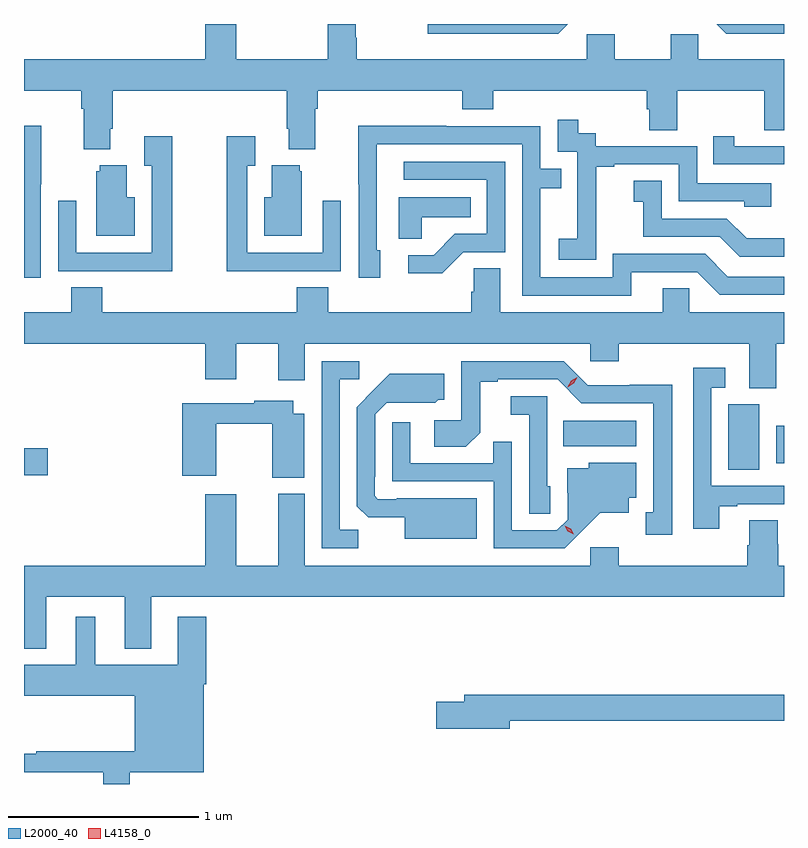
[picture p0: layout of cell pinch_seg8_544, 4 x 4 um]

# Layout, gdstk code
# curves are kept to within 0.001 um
import gdstk
lib = gdstk.Library(unit=1e-6, precision=1e-09)
def R(c, l, rs):  # rectangles x0, y0, x1, y1
    for r in rs: c.add(gdstk.rectangle(r[:2], r[2:], *l))
def P(c, l, *ps):  # polygons
    for p in ps: c.add(gdstk.Polygon(p, *l))
L2000_40 = (2000, 40)
L4158_0 = (4158, 0)

pinch_seg8_544 = lib.new_cell('pinch_seg8_544')
R(pinch_seg8_544, L2000_40, [(140.079,1106.482,140.203,1106.624), (143.786,1106.512,143.95,1106.856), (144.038,1106.547,144.079,1106.743), (142.918,1106.636,143.302,1106.77)])
P(pinch_seg8_544, L2000_40, [(140.533,1108.306),(140.546,1108.306),(140.546,1108.508),(141.461,1108.508),(141.461,1108.306),(141.473,1108.306),(141.473,1108.199),(141.613,1108.199),(141.613,1108.412),(141.626,1108.412),(141.626,1108.508),(142.385,1108.508),(142.385,1108.409),(142.55,1108.409),(142.55,1108.508),(143.357,1108.508),(143.357,1108.41),(143.369,1108.41),(143.369,1108.3),(143.517,1108.3),(143.517,1108.508),(143.974,1108.508),(143.974,1108.3),(144.079,1108.3),(144.079,1108.672),(143.628,1108.672),(143.628,1108.804),(143.482,1108.804),(143.482,1108.672),(143.187,1108.672),(143.187,1108.804),(143.04,1108.804),(143.04,1108.672),(141.83,1108.672),(141.83,1108.785),(141.825,1108.785),(141.825,1108.858),(141.677,1108.858),(141.677,1108.672),(141.196,1108.672),(141.196,1108.858),(141.032,1108.858),(141.032,1108.672),(140.079,1108.672),(140.079,1108.508),(140.381,1108.508),(140.381,1108.412),(140.393,1108.412),(140.393,1108.199),(140.533,1108.199)],
  [(144.079,1108.858),(143.726,1108.858),(143.776,1108.808),(144.079,1108.808)],
  [(142.942,1108.858),(142.203,1108.858),(142.203,1108.808),(142.892,1108.808)],
  [(143.091,1107.823),(143.09,1107.823),(143.09,1108.107),(143.185,1108.107),(143.185,1108.119),(143.526,1108.119),(143.526,1107.924),(143.871,1107.924),(143.871,1107.897),(144.011,1107.897),(144.011,1108.02),(143.622,1108.02),(143.622,1108.215),(143.088,1108.215),(143.088,1108.284),(142.996,1108.284),(142.996,1108.354),(142.887,1108.354),(142.887,1108.185),(142.992,1108.185),(142.992,1107.956),(142.991,1107.956),(142.991,1107.727),(142.893,1107.727),(142.893,1107.617),(143.091,1107.617)],
  [(140.166,1108.015),(140.169,1108.015),(140.169,1108.322),(140.079,1108.322),(140.079,1107.522),(140.166,1107.522)],
  [(143.275,1107.552),(143.622,1107.552),(143.742,1107.432),(144.079,1107.432),(144.079,1107.528),(143.784,1107.528),(143.664,1107.648),(143.178,1107.648),(143.178,1107.525),(142.797,1107.525),(142.797,1107.994),(142.907,1107.994),(142.907,1108.095),(142.797,1108.095),(142.797,1108.32),(142.301,1108.32),(142.301,1108.322),(141.838,1108.322),(141.838,1108.015),(141.84,1108.015),(141.84,1107.522),(141.955,1107.522),(141.955,1107.666),(141.936,1107.666),(141.936,1108.224),(142.701,1108.224),(142.701,1107.429),(143.275,1107.429)],
  [(140.86,1108.267),(140.711,1108.267),(140.711,1108.111),(140.751,1108.111),(140.751,1107.654),(140.355,1107.654),(140.355,1107.928),(140.259,1107.928),(140.259,1107.558),(140.575,1107.558),(140.575,1107.557),(140.86,1107.557)],
  [(141.431,1107.558),(141.747,1107.558),(141.747,1107.928),(141.651,1107.928),(141.651,1107.654),(141.255,1107.654),(141.255,1108.111),(141.295,1108.111),(141.295,1108.267),(141.147,1108.267),(141.147,1107.557),(141.431,1107.557)],
  [(144.079,1108.215),(143.818,1108.215),(143.818,1108.267),(143.707,1108.267),(143.707,1108.119),(144.079,1108.119)],
  [(142.392,1107.657),(142.611,1107.657),(142.611,1108.134),(142.077,1108.134),(142.077,1108.038),(142.515,1108.038),(142.515,1107.753),(142.346,1107.753),(142.235,1107.642),(142.101,1107.642),(142.101,1107.545),(142.279,1107.545)],
  [(141.541,1108.083),(141.53,1108.083),(141.53,1108.114),(141.383,1108.114),(141.383,1107.946),(141.344,1107.946),(141.344,1107.743),(141.541,1107.743)],
  [(140.662,1107.946),(140.62,1107.946),(140.62,1108.114),(140.477,1108.114),(140.477,1108.083),(140.459,1108.083),(140.459,1107.743),(140.662,1107.743)],
  [(144.079,1107.73),(143.882,1107.73),(143.778,1107.834),(143.436,1107.834),(143.436,1108.033),(143.289,1108.033),(143.289,1107.923),(143.338,1107.923),(143.338,1107.738),(143.741,1107.738),(143.846,1107.633),(144.079,1107.633)],
  [(142.173,1107.842),(142.43,1107.842),(142.43,1107.946),(142.052,1107.946),(142.052,1107.727),(142.173,1107.727)],
  [(140.492,1107.473),(140.327,1107.473),(140.327,1107.34),(140.079,1107.34),(140.079,1107.176),(141.032,1107.176),(141.032,1106.988),(141.196,1106.988),(141.196,1107.176),(141.416,1107.176),(141.416,1106.982),(141.556,1106.982),(141.556,1107.176),(143.058,1107.176),(143.058,1107.083),(143.21,1107.083),(143.21,1107.176),(143.897,1107.176),(143.897,1106.941),(144.037,1106.941),(144.037,1107.176),(144.079,1107.176),(144.079,1107.34),(143.58,1107.34),(143.58,1107.467),(143.441,1107.467),(143.441,1107.34),(142.585,1107.34),(142.585,1107.572),(142.446,1107.572),(142.446,1107.449),(142.433,1107.449),(142.433,1107.34),(141.68,1107.34),(141.68,1107.473),(141.515,1107.473),(141.515,1107.34),(140.492,1107.34)],
  [(143.491,1106.96),(143.268,1106.96),(143.268,1106.958),(143.046,1106.958),(142.92,1107.084),(142.38,1107.084),(142.38,1106.772),(142.239,1106.772),(142.239,1106.632),(142.403,1106.632),(142.479,1106.708),(142.479,1106.976),(142.573,1106.976),(142.573,1106.988),(142.887,1106.988),(143.013,1106.862),(143.39,1106.862),(143.39,1106.289),(143.351,1106.289),(143.351,1106.169),(143.491,1106.169)],
  [(141.837,1106.195),(141.741,1106.195),(141.741,1106.988),(141.844,1106.988),(141.844,1107.084),(141.645,1107.084),(141.645,1106.1),(141.837,1106.1)],
  [(143.737,1106.319),(143.833,1106.319),(143.833,1106.331),(144.079,1106.331),(144.079,1106.427),(143.697,1106.427),(143.697,1106.943),(143.77,1106.943),(143.77,1107.049),(143.601,1107.049),(143.601,1106.202),(143.737,1106.202)],
  [(142.462,1106.362),(142.042,1106.362),(142.042,1106.358),(141.942,1106.358),(141.924,1106.376),(141.924,1106.476),(141.927,1106.476),(141.927,1106.805),(141.987,1106.865),(142.244,1106.864),(142.26,1106.88),(142.291,1106.88),(142.291,1107.016),(142.003,1107.016),(141.831,1106.842),(141.831,1106.32),(141.89,1106.261),(142.082,1106.261),(142.082,1106.15),(142.462,1106.15)],
  [(142.848,1106.424),(142.833,1106.424),(142.833,1106.898),(142.641,1106.898),(142.641,1106.801),(142.737,1106.801),(142.737,1106.281),(142.848,1106.281)],
  [(141.553,1106.806),(141.496,1106.806),(141.496,1106.875),(141.292,1106.875),(141.292,1106.862),(140.912,1106.862),(140.912,1106.481),(141.09,1106.481),(141.09,1106.754),(141.386,1106.754),(141.386,1106.471),(141.553,1106.471)],
  [(143.008,1106.183),(143.111,1106.285),(143.263,1106.285),(143.263,1106.364),(143.302,1106.364),(143.302,1106.548),(143.052,1106.548),(143.052,1106.521),(142.937,1106.521),(142.937,1106.392),(142.941,1106.392),(142.941,1106.25),(142.884,1106.193),(142.647,1106.193),(142.647,1106.66),(142.549,1106.66),(142.549,1106.547),(142.113,1106.547),(142.113,1106.761),(142.017,1106.761),(142.017,1106.451),(142.551,1106.451),(142.551,1106.1),(142.924,1106.1)],
  [(140.197,1105.844),(140.609,1105.844),(140.609,1105.571),(140.749,1105.571),(140.749,1105.844),(144.079,1105.844),(144.079,1106.008),(144.05,1106.008),(144.05,1106.121),(144.045,1106.121),(144.045,1106.246),(143.897,1106.246),(143.897,1106.114),(143.885,1106.114),(143.885,1106.008),(143.21,1106.008),(143.21,1106.104),(143.058,1106.104),(143.058,1106.008),(141.556,1106.008),(141.556,1106.386),(141.416,1106.386),(141.416,1106.008),(141.196,1106.008),(141.196,1106.383),(141.032,1106.383),(141.032,1106.008),(140.079,1106.008),(140.079,1105.571),(140.197,1105.571)],
  [(140.635,1104.92),(141.025,1104.92),(141.025,1105.382),(141.038,1105.382),(141.038,1105.738),(140.888,1105.738),(140.888,1105.486),(140.455,1105.486),(140.455,1105.738),(140.351,1105.738),(140.351,1105.486),(140.079,1105.486),(140.079,1105.322),(140.663,1105.322),(140.663,1105.03),(140.143,1105.03),(140.143,1105.017),(140.079,1105.017),(140.079,1104.921),(140.495,1104.921),(140.495,1104.858),(140.635,1104.858)],
  [(142.636,1105.192),(144.079,1105.192),(144.079,1105.328),(142.397,1105.328),(142.397,1105.292),(142.248,1105.292),(142.248,1105.15),(142.636,1105.15)])
P(pinch_seg8_544, L4158_0, [(142.941,1106.947),(142.941,1106.948),(142.958,1106.98),(142.99,1106.999),(142.99,1106.999),(142.99,1106.999),(142.973,1106.966),(142.941,1106.947)],
  [(142.973,1106.172),(142.942,1106.188),(142.925,1106.217),(142.925,1106.218),(142.925,1106.218),(142.956,1106.202),(142.973,1106.173),(142.973,1106.172)])

lib.write_gds('pinch_seg8_544.gds')
